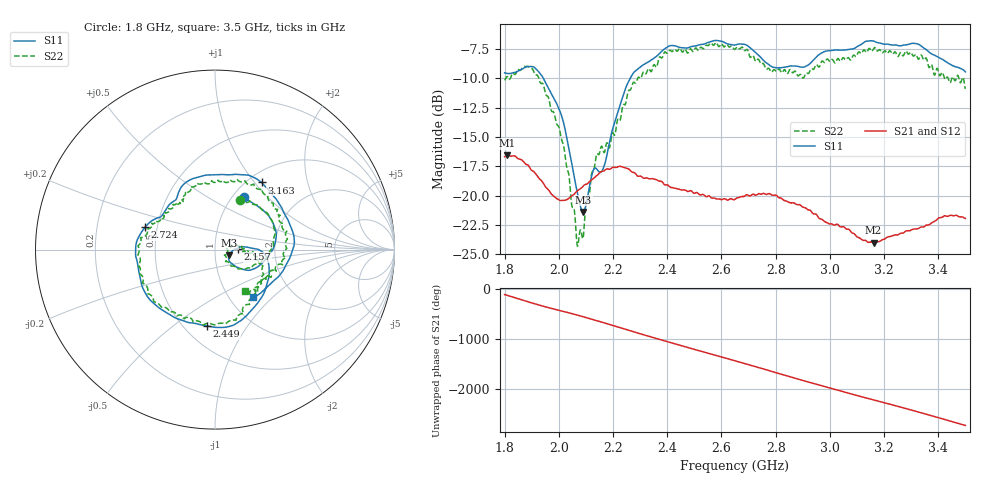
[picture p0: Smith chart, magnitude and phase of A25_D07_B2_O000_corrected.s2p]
! Created with skrf 1.9.0 (http://scikit-rf.org).
# Hz S RI R 50.0
!freq ReS11 ImS11 ReS21 ImS21 ReS12 ImS12 ReS22 ImS22
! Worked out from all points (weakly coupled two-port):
!   1601 points, 1.8 GHz to 3.5 GHz, reference 50 ohm
!   highest |S21| = -16.57 dB at 1.811 GHz (marker M1); lowest = -24.0 dB at 3.161 GHz (marker M2)
!   lowest |S11| = -21.4 dB at 2.09 GHz (marker M3), VSWR 1.19, Z = 58.4 - j3.78 ohm
!   |S11| at or under -10 dB: 1.943 GHz to 2.263 GHz (320 MHz wide, 15.2 % of centre)
!   |S22| runs from -24.3 to -7.0 dB; largest |S21 - S12| = 0.0028
!   S11 on the Smith chart (normalised r, x): 1.8 GHz: 1.12, +0.74; 2.157 GHz: 1.29, +0.01; 2.449 GHz: 0.64, -0.67; 2.724 GHz: 0.43, +0.13; 3.163 GHz: 1.15, +1.09; 3.5 GHz: 1.28, -0.76
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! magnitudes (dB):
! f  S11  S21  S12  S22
! 1.8 GHz  -9.5  -16.7  -16.7  -10.2
! 1.811 GHz  -9.6  -16.6  -16.6  -9.9
! 1.881 GHz  -9.0  -17.4  -17.4  -9.0
! 1.941 GHz  -9.9  -18.9  -18.9  -10.5
! 2.013 GHz  -13.4  -20.4  -20.4  -15.4
! 2.067 GHz  -19.6  -19.6  -19.6  -24.0
! 2.084 GHz  -21.2  -19.3  -19.3  -23.2
! 2.09 GHz  -21.4  -19.2  -19.2  -23.6
! 2.127 GHz  -17.8  -18.6  -18.5  -17.9
! 2.157 GHz  -18.0  -17.9  -17.9  -15.8
! 2.189 GHz  -15.3  -17.7  -17.8  -15.8
! 2.258 GHz  -10.2  -17.7  -17.7  -11.0
! 2.367 GHz  -8.0  -18.7  -18.7  -8.5
! 2.449 GHz  -7.4  -19.5  -19.5  -7.5
! 2.65 GHz  -7.2  -20.3  -20.3  -7.5
! 2.724 GHz  -7.8  -20.0  -19.9  -8.5
! 2.797 GHz  -9.1  -19.9  -19.9  -9.3
! 2.934 GHz  -8.6  -21.4  -21.4  -9.2
! 3.161 GHz  -6.8  -24.0  -24.0  -7.5
! 3.163 GHz  -6.8  -24.0  -24.0  -7.4
! 3.217 GHz  -7.1  -23.5  -23.5  -7.7
! 3.5 GHz  -9.4  -21.9  -21.9  -10.9
